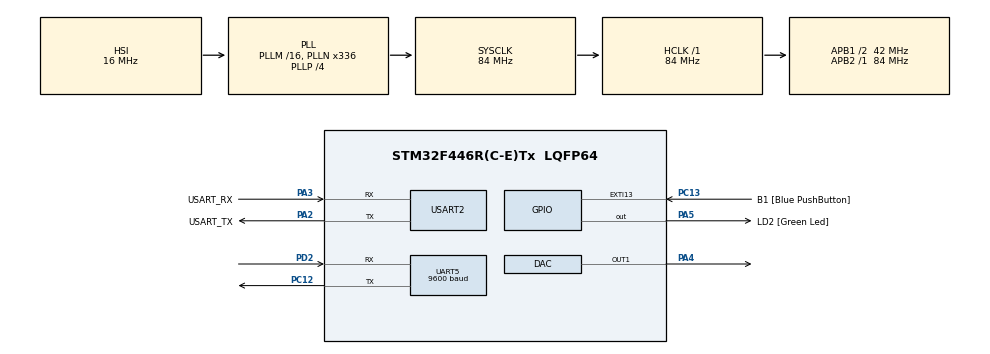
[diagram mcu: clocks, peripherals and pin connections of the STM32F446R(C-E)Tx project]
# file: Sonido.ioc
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DAC.DAC_Trigger=DAC_TRIGGER_T6_TRGO
Dma.DAC1.0.Direction=DMA_MEMORY_TO_PERIPH
Dma.DAC1.0.FIFOMode=DMA_FIFOMODE_DISABLE
Dma.DAC1.0.Instance=DMA1_Stream5
Dma.DAC1.0.MemDataAlignment=DMA_MDATAALIGN_WORD
Dma.DAC1.0.MemInc=DMA_MINC_ENABLE
Dma.DAC1.0.Mode=DMA_CIRCULAR
Dma.DAC1.0.PeriphDataAlignment=DMA_PDATAALIGN_WORD
Dma.DAC1.0.PeriphInc=DMA_PINC_DISABLE
Dma.DAC1.0.Priority=DMA_PRIORITY_LOW
Dma.Request0=DAC1
Dma.Request1=UART5_RX
Dma.Request2=UART5_TX
Dma.UART5_RX.1.Direction=DMA_PERIPH_TO_MEMORY
Dma.UART5_RX.1.FIFOMode=DMA_FIFOMODE_DISABLE
Dma.UART5_RX.1.Instance=DMA1_Stream0
Dma.UART5_RX.1.MemDataAlignment=DMA_MDATAALIGN_BYTE
Dma.UART5_RX.1.MemInc=DMA_MINC_ENABLE
Dma.UART5_RX.1.Mode=DMA_NORMAL
Dma.UART5_RX.1.PeriphDataAlignment=DMA_PDATAALIGN_BYTE
Dma.UART5_RX.1.PeriphInc=DMA_PINC_DISABLE
Dma.UART5_RX.1.Priority=DMA_PRIORITY_LOW
Dma.UART5_TX.2.Direction=DMA_MEMORY_TO_PERIPH
Dma.UART5_TX.2.FIFOMode=DMA_FIFOMODE_DISABLE
Dma.UART5_TX.2.Instance=DMA1_Stream7
Dma.UART5_TX.2.MemDataAlignment=DMA_MDATAALIGN_BYTE
Dma.UART5_TX.2.MemInc=DMA_MINC_ENABLE
Dma.UART5_TX.2.Mode=DMA_NORMAL
Dma.UART5_TX.2.PeriphDataAlignment=DMA_PDATAALIGN_BYTE
Dma.UART5_TX.2.PeriphInc=DMA_PINC_DISABLE
Dma.UART5_TX.2.Priority=DMA_PRIORITY_LOW
Mcu.Family=STM32F4
Mcu.Name=STM32F446R(C-E)Tx
Mcu.Package=LQFP64
NVIC.DMA1_Stream0_IRQn=true\:0\:0\:false\:false\:true\:false\:true\:true
NVIC.DMA1_Stream5_IRQn=true\:0\:0\:false\:false\:true\:false\:true\:true
NVIC.DMA1_Stream7_IRQn=true\:0\:0\:false\:false\:true\:false\:true\:true
NVIC.PriorityGroup=NVIC_PRIORITYGROUP_0
PA13.GPIO_Label=TMS
PA13.Mode=Serial_Wire
PA13.Signal=SYS_JTMS-SWDIO
PA14.GPIO_Label=TCK
PA14.Mode=Serial_Wire
PA14.Signal=SYS_JTCK-SWCLK
PA2.GPIO_Label=USART_TX
PA2.Mode=Asynchronous
PA2.Signal=USART2_TX
PA3.GPIO_Label=USART_RX
PA3.Mode=Asynchronous
PA3.Signal=USART2_RX
PA4.Signal=COMP_DAC1_group
PA5.GPIO_Label=LD2 [Green Led]
PA5.Signal=GPIO_Output
PB3.GPIO_Label=SWO
PB3.Signal=SYS_JTDO-SWO
PC12.Mode=Asynchronous
PC12.Signal=UART5_TX
PC13.GPIO_Label=B1 [Blue PushButton]
PC13.GPIO_ModeDefaultEXTI=GPIO_MODE_IT_FALLING
PC13.Signal=GPXTI13
PC14-OSC32_IN.Mode=LSE-External-Oscillator
PC14-OSC32_IN.Signal=RCC_OSC32_IN
PC15-OSC32_OUT.Mode=LSE-External-Oscillator
PC15-OSC32_OUT.Signal=RCC_OSC32_OUT
PD2.Mode=Asynchronous
PD2.Signal=UART5_RX
PH0-OSC_IN.Mode=HSE-External-Oscillator
PH0-OSC_IN.Signal=RCC_OSC_IN
PH1-OSC_OUT.Mode=HSE-External-Oscillator
PH1-OSC_OUT.Signal=RCC_OSC_OUT
ProjectManager.HeapSize=0x200
ProjectManager.StackSize=0x400
ProjectManager.TargetToolchain=STM32CubeIDE
RCC.48MHZClocksFreq_Value=84000000
RCC.AHBFreq_Value=84000000
RCC.APB1CLKDivider=RCC_HCLK_DIV2
RCC.APB1Freq_Value=42000000
RCC.APB1TimFreq_Value=84000000
RCC.APB2Freq_Value=84000000
RCC.APB2TimFreq_Value=84000000
RCC.CortexFreq_Value=84000000
RCC.FLatency-AdvancedSettings=FLASH_LATENCY_2
RCC.HCLKFreq_Value=84000000
RCC.HSE_VALUE=8000000
RCC.HSI_VALUE=16000000
RCC.PLLN=336
RCC.PLLP=RCC_PLLP_DIV4
RCC.SYSCLKFreq_VALUE=84000000
RCC.SYSCLKSource=RCC_SYSCLKSOURCE_PLLCLK
RCC.USBFreq_Value=168000000
RCC.VCOOutputFreq_Value=336000000
SH.COMP_DAC1_group.0=DAC_OUT1,DAC_OUT1
TIM6.Period=1000-1
TIM6.Prescaler=1
TIM6.TIM_MasterOutputTrigger=TIM_TRGO_UPDATE
UART5.BaudRate=9600
UART5.VirtualMode=Asynchronous
USART2.VirtualMode=VM_ASYNC
VP_TIM1_VS_ClockSourceINT.Mode=Internal
VP_TIM6_VS_ClockSourceINT.Mode=Enable_Timer
board=NUCLEO-F446RE

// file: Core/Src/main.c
/* USER CODE BEGIN Header */
/**
  ******************************************************************************
  * @file           : main.c
  * @brief          : Main program body
  ******************************************************************************
  * @attention
  *
  * Copyright (c) 2025 STMicroelectronics.
  * All rights reserved.
  *
  * This software is licensed under terms that can be found in the LICENSE file
  * in the root directory of this software component.
  * If no LICENSE file comes with this software, it is provided AS-IS.
  *
  ******************************************************************************
  */
/* USER CODE END Header */
#include "main.h"

#include "string.h"
#include "stdio.h"

DAC_HandleTypeDef hdac;
DMA_HandleTypeDef hdma_dac1;

TIM_HandleTypeDef htim1;
TIM_HandleTypeDef htim6;

UART_HandleTypeDef huart5;
UART_HandleTypeDef huart2;
DMA_HandleTypeDef hdma_uart5_rx;
DMA_HandleTypeDef hdma_uart5_tx;

/* USER CODE BEGIN PV */
#define C3  131   // Do
#define Cs3 139   // Do# / Reb3
#define D3  147   // Re
#define Ds3 156   // Re# / Mib3
#define E3  165   // Mi
#define F3  175   // Fa
#define Fs3 185   // Fa# / Solb3
#define G3  196   // Sol
#define Gs3 208   // Sol# / Lab3
#define A3  220   // La
#define As3 233   // La# / Sib3
#define B3  247   // Si
#define C4  261  // Do
#define D4  293  // Re
#define E4  329  // Mi
#define F4  349  // Fa
#define G4  392  // Sol
#define A4  440  // La
#define B4  494  // Si
#define C5  523
#define D5  587
#define E5  659
#define F5  698
#define G5  784
#define A5  880
#define B5  988
#define C6  1047
#define D6  1175
#define E6  1319
#define F6  1397
#define G6  1568
#define A6  1760
#define B6  1976
#define SILENCIO 0

#define size 128
uint32_t Ysine[size];
#define PI 3.1415926

#define TIM_FREQ 84000000
#define PSC 1                    //Prescaler

uint16_t buffer[10];
uint8_t temp[2];
uint16_t indx  = 0;
uint8_t flag_melodia = 0;

int MelodiaIntro [] = {
		E5, D5, C5, D5, E5, D5, C5, D5,
		    E5, F5, G5, A5, G5, F5, E5, D5,
		    C5, D5, E5, D5, C5, D5, E5,
		    C5, D5, E5, D5, C5, D5, E5,
		    C5, D5, E5, F5, E5, D5, C5,
		    D5, E5, F5, E5, D5, C5, D5,
		    E5, D5, C5, D5, E5, D5, C5, D5,
		    E5, F5, G5, A5, G5, F5, E5
};

int MelodiaIntroDuraciones [] = {
		300, 300, 300, 600, 300, 300, 300, 600,
		    300, 300, 300, 600, 300, 300, 300, 600,
		    300, 300, 300, 300, 300, 300, 600,
		    300, 300, 300, 300, 300, 300, 600,
		    300, 300, 300, 300, 300, 300, 600,
		    300, 300, 300, 300, 300, 300, 600,
		    300, 300, 300, 600, 300, 300, 300, 600,
		    300, 300, 300, 300, 300, 300, 600
};

int Metroidmelody []  ={

		E5, G5, A5, E5, G5, A5, E5, G5,
		    A5, G5, F5, E5, D5, F5, E5, D5,
		    C5, E5, D5, C5, B4, D5, C5, B4,
		    A4, C5, B4, A4, G4, B4, A4, G4,
		    F4, A4, G4, F4, E4, G4, F4, E4,
		    D4, F4, E4, D4, C4, E4, D4, C4,
		    B3, D4, C4, B3, A3, C4, B3, A3,
		    G3, B3, A3, G3, F3, A3, G3, F3
};
int Metroiddurations [] = {

		200, 200, 200, 200, 200, 200, 200, 200,
		    200, 200, 200, 200, 200, 200, 200, 200,
		    200, 200, 200, 200, 200, 200, 200, 200,
		    200, 200, 200, 200, 200, 200, 200, 200,
		    400, 400, 400, 400, 400, 400, 400, 400,
		    200, 200, 200, 200, 200, 200, 200, 200,
		    200, 200, 200, 200, 200, 200, 200, 200,
		    400, 400, 400, 400, 400, 400, 400, 400

};

/* USER CODE END PV */

void SystemClock_Config(void);
static void MX_GPIO_Init(void);
static void MX_DMA_Init(void);
static void MX_USART2_UART_Init(void);
static void MX_DAC_Init(void);
static void MX_TIM1_Init(void);
static void MX_TIM6_Init(void);
static void MX_UART5_Init(void);
/* USER CODE BEGIN PFP */
void generarSin(void);
int calcularARR(int freq);
void playTone(int *tone, int *duration, int *pause, int Nsize);
void noTone (void);

void transmit_uart(char *string){
	uint8_t len = strlen(string);
	HAL_UART_Transmit(&huart2, (uint8_t*) string , len, 200);
}
/* USER CODE END PFP */

/* USER CODE BEGIN 0 */

void generarSin(void){
	for (int x = 0; x < size; x++) {
		Ysine[x] = ((sin(x*2*PI/size)+1)*(4096/2));
	}
}

int calcularARR(int freq){
	if (freq == 0){
		return 0;
	}

	int TF = size*freq;
	return ((TIM_FREQ /((PSC + 1)*TF)) - 1);
}

void playTone(int *tone, int *duration, int *pause, int Nsize){
	for (int i = 0;  i < Nsize;  i++) {
		int valorARR = calcularARR(tone[i]); //calcular el valor de ARR
		int dur = duration[i]; //obtener la duracion
		int pauseBetweenTones = 0;
		if (pause != NULL) pauseBetweenTones = pause[i] - duration [i];

		TIM6->ARR = valorARR;
		HAL_Delay(dur); //duración nota
		noTone(); //pausa
		HAL_Delay(pauseBetweenTones); //duración sin tono
	}
}

void noTone (void){
	TIM6->ARR = 0;
}

/* USER CODE END 0 */

int main(void)
{

  /* MCU Configuration--------------------------------------------------------*/

  /* Reset of all peripherals, Initializes the Flash interface and the Systick. */
  HAL_Init();

  /* Configure the system clock */
  SystemClock_Config();

  /* Initialize all configured peripherals */
  MX_GPIO_Init();
  MX_DMA_Init();
  MX_USART2_UART_Init();
  MX_DAC_Init();
  MX_TIM1_Init();
  MX_TIM6_Init();
  MX_UART5_Init();
  /* USER CODE BEGIN 2 */
  generarSin();

  HAL_DAC_Init(&hdac);

  HAL_TIM_Base_Start(&htim6);

  HAL_DAC_Start_DMA(&hdac, DAC_CHANNEL_1, Ysine, size, DAC_ALIGN_12B_R);

  HAL_UART_Receive_DMA(&huart5, temp, 1);

  /* USER CODE END 2 */

  /* Infinite loop */
  /* USER CODE BEGIN WHILE */
  while (1)
  {
	  switch (flag_melodia) {
		case 1:
			  playTone(MelodiaIntro, MelodiaIntroDuraciones, NULL, (sizeof(MelodiaIntro)/sizeof(MelodiaIntro[0])) );
			  //flag_melodia = 0;
			  transmit_uart("Aqui estamos en melodia de intro \n");

			break;
		case 2:
              playTone(Metroidmelody, Metroiddurations, NULL, (sizeof(Metroidmelody)/sizeof(Metroidmelody[0])) );
              //flag_melodia = 0;
              transmit_uart("Aqui estamos en melodia del juego \n");
			break;
		default:
			transmit_uart("Aqui no está pasando nada, no recibe nada \n");
			break;
	}

	  HAL_Delay(500);

    /* USER CODE END WHILE */

  }
}

void SystemClock_Config(void)
{
  RCC_OscInitTypeDef RCC_OscInitStruct = {0};
  RCC_ClkInitTypeDef RCC_ClkInitStruct = {0};

  /** Configure the main internal regulator output voltage
  */
  __HAL_RCC_PWR_CLK_ENABLE();
  __HAL_PWR_VOLTAGESCALING_CONFIG(PWR_REGULATOR_VOLTAGE_SCALE3);

  /** Initializes the RCC Oscillators according to the specified parameters
  * in the RCC_OscInitTypeDef structure.
  */
  RCC_OscInitStruct.OscillatorType = RCC_OSCILLATORTYPE_HSI;
  RCC_OscInitStruct.HSIState = RCC_HSI_ON;
  RCC_OscInitStruct.HSICalibrationValue = RCC_HSICALIBRATION_DEFAULT;
  RCC_OscInitStruct.PLL.PLLState = RCC_PLL_ON;
  RCC_OscInitStruct.PLL.PLLSource = RCC_PLLSOURCE_HSI;
  RCC_OscInitStruct.PLL.PLLM = 16;
  RCC_OscInitStruct.PLL.PLLN = 336;
  RCC_OscInitStruct.PLL.PLLP = RCC_PLLP_DIV4;
  RCC_OscInitStruct.PLL.PLLQ = 2;
  RCC_OscInitStruct.PLL.PLLR = 2;
  if (HAL_RCC_OscConfig(&RCC_OscInitStruct) != HAL_OK)
  {
    Error_Handler();
  }

  /** Initializes the CPU, AHB and APB buses clocks
  */
  RCC_ClkInitStruct.ClockType = RCC_CLOCKTYPE_HCLK|RCC_CLOCKTYPE_SYSCLK
                              |RCC_CLOCKTYPE_PCLK1|RCC_CLOCKTYPE_PCLK2;
  RCC_ClkInitStruct.SYSCLKSource = RCC_SYSCLKSOURCE_PLLCLK;
  RCC_ClkInitStruct.AHBCLKDivider = RCC_SYSCLK_DIV1;
  RCC_ClkInitStruct.APB1CLKDivider = RCC_HCLK_DIV2;
  RCC_ClkInitStruct.APB2CLKDivider = RCC_HCLK_DIV1;

  if (HAL_RCC_ClockConfig(&RCC_ClkInitStruct, FLASH_LATENCY_2) != HAL_OK)
  {
    Error_Handler();
  }
}

static void MX_DAC_Init(void)
{

  DAC_ChannelConfTypeDef sConfig = {0};

  /** DAC Initialization
  */
  hdac.Instance = DAC;
  if (HAL_DAC_Init(&hdac) != HAL_OK)
  {
    Error_Handler();
  }

  /** DAC channel OUT1 config
  */
  sConfig.DAC_Trigger = DAC_TRIGGER_T6_TRGO;
  sConfig.DAC_OutputBuffer = DAC_OUTPUTBUFFER_ENABLE;
  if (HAL_DAC_ConfigChannel(&hdac, &sConfig, DAC_CHANNEL_1) != HAL_OK)
  {
    Error_Handler();
  }

}

static void MX_TIM1_Init(void)
{

  TIM_ClockConfigTypeDef sClockSourceConfig = {0};
  TIM_MasterConfigTypeDef sMasterConfig = {0};

  htim1.Instance = TIM1;
  htim1.Init.Prescaler = 0;
  htim1.Init.CounterMode = TIM_COUNTERMODE_UP;
  htim1.Init.Period = 65535;
  htim1.Init.ClockDivision = TIM_CLOCKDIVISION_DIV1;
  htim1.Init.RepetitionCounter = 0;
  htim1.Init.AutoReloadPreload = TIM_AUTORELOAD_PRELOAD_DISABLE;
  if (HAL_TIM_Base_Init(&htim1) != HAL_OK)
  {
    Error_Handler();
  }
  sClockSourceConfig.ClockSource = TIM_CLOCKSOURCE_INTERNAL;
  if (HAL_TIM_ConfigClockSource(&htim1, &sClockSourceConfig) != HAL_OK)
  {
    Error_Handler();
  }
  sMasterConfig.MasterOutputTrigger = TIM_TRGO_RESET;
  sMasterConfig.MasterSlaveMode = TIM_MASTERSLAVEMODE_DISABLE;
  if (HAL_TIMEx_MasterConfigSynchronization(&htim1, &sMasterConfig) != HAL_OK)
  {
    Error_Handler();
  }

}

static void MX_TIM6_Init(void)
{

  TIM_MasterConfigTypeDef sMasterConfig = {0};

  htim6.Instance = TIM6;
  htim6.Init.Prescaler = 1;
  htim6.Init.CounterMode = TIM_COUNTERMODE_UP;
  htim6.Init.Period = 1000-1;
  htim6.Init.AutoReloadPreload = TIM_AUTORELOAD_PRELOAD_DISABLE;
  if (HAL_TIM_Base_Init(&htim6) != HAL_OK)
  {
    Error_Handler();
  }
  sMasterConfig.MasterOutputTrigger = TIM_TRGO_UPDATE;
  sMasterConfig.MasterSlaveMode = TIM_MASTERSLAVEMODE_DISABLE;
  if (HAL_TIMEx_MasterConfigSynchronization(&htim6, &sMasterConfig) != HAL_OK)
  {
    Error_Handler();
  }

}

static void MX_UART5_Init(void)
{

  huart5.Instance = UART5;
  huart5.Init.BaudRate = 9600;
  huart5.Init.WordLength = UART_WORDLENGTH_8B;
  huart5.Init.StopBits = UART_STOPBITS_1;
  huart5.Init.Parity = UART_PARITY_NONE;
  huart5.Init.Mode = UART_MODE_TX_RX;
  huart5.Init.HwFlowCtl = UART_HWCONTROL_NONE;
  huart5.Init.OverSampling = UART_OVERSAMPLING_16;
  if (HAL_UART_Init(&huart5) != HAL_OK)
  {
    Error_Handler();
  }

}

static void MX_USART2_UART_Init(void)
{

  huart2.Instance = USART2;
  huart2.Init.BaudRate = 115200;
  huart2.Init.WordLength = UART_WORDLENGTH_8B;
  huart2.Init.StopBits = UART_STOPBITS_1;
  huart2.Init.Parity = UART_PARITY_NONE;
  huart2.Init.Mode = UART_MODE_TX_RX;
  huart2.Init.HwFlowCtl = UART_HWCONTROL_NONE;
  huart2.Init.OverSampling = UART_OVERSAMPLING_16;
  if (HAL_UART_Init(&huart2) != HAL_OK)
  {
    Error_Handler();
  }

}

static void MX_DMA_Init(void)
{

  /* DMA controller clock enable */
  __HAL_RCC_DMA1_CLK_ENABLE();

  /* DMA interrupt init */
  /* DMA1_Stream0_IRQn interrupt configuration */
  HAL_NVIC_SetPriority(DMA1_Stream0_IRQn, 0, 0);
  HAL_NVIC_EnableIRQ(DMA1_Stream0_IRQn);
  /* DMA1_Stream5_IRQn interrupt configuration */
  HAL_NVIC_SetPriority(DMA1_Stream5_IRQn, 0, 0);
  HAL_NVIC_EnableIRQ(DMA1_Stream5_IRQn);
  /* DMA1_Stream7_IRQn interrupt configuration */
  HAL_NVIC_SetPriority(DMA1_Stream7_IRQn, 0, 0);
  HAL_NVIC_EnableIRQ(DMA1_Stream7_IRQn);

}

static void MX_GPIO_Init(void)
{
  GPIO_InitTypeDef GPIO_InitStruct = {0};

  /* GPIO Ports Clock Enable */
  __HAL_RCC_GPIOC_CLK_ENABLE();
  __HAL_RCC_GPIOH_CLK_ENABLE();
  __HAL_RCC_GPIOA_CLK_ENABLE();
  __HAL_RCC_GPIOD_CLK_ENABLE();
  __HAL_RCC_GPIOB_CLK_ENABLE();

  /*Configure GPIO pin Output Level */
  HAL_GPIO_WritePin(LD2_GPIO_Port, LD2_Pin, GPIO_PIN_RESET);

  /*Configure GPIO pin : B1_Pin */
  GPIO_InitStruct.Pin = B1_Pin;
  GPIO_InitStruct.Mode = GPIO_MODE_IT_FALLING;
  GPIO_InitStruct.Pull = GPIO_NOPULL;
  HAL_GPIO_Init(B1_GPIO_Port, &GPIO_InitStruct);

  /*Configure GPIO pin : LD2_Pin */
  GPIO_InitStruct.Pin = LD2_Pin;
  GPIO_InitStruct.Mode = GPIO_MODE_OUTPUT_PP;
  GPIO_InitStruct.Pull = GPIO_NOPULL;
  GPIO_InitStruct.Speed = GPIO_SPEED_FREQ_LOW;
  HAL_GPIO_Init(LD2_GPIO_Port, &GPIO_InitStruct);

}

/* USER CODE BEGIN 4 */

void HAL_UART_RxCpltCallback(UART_HandleTypeDef *huart){

	    memcpy (buffer + indx, temp, 1);
		indx++;
		if(indx >= 10){
			indx = 0;
		}

	    HAL_UART_Receive_DMA(&huart5, temp, 1);

	    transmit_uart("ENTRO \n");

	    for(int i = 0; i < 10; i++) {
	    			if (buffer[i] == 1){
	    				flag_melodia = 1;
	    				transmit_uart("melodia 1 en la interrupcion");
	    				buffer[i] = 0;
	    			}
	    			if (buffer[i] == 2){
	    				 flag_melodia = 2;
	    				 transmit_uart("melodia 2 en la interrupcion");
	       	    	     buffer[i] = 0;
	    			}
	    }
}

/* USER CODE END 4 */

void Error_Handler(void)
{
  __disable_irq();
  while (1)
  {
  }
}
